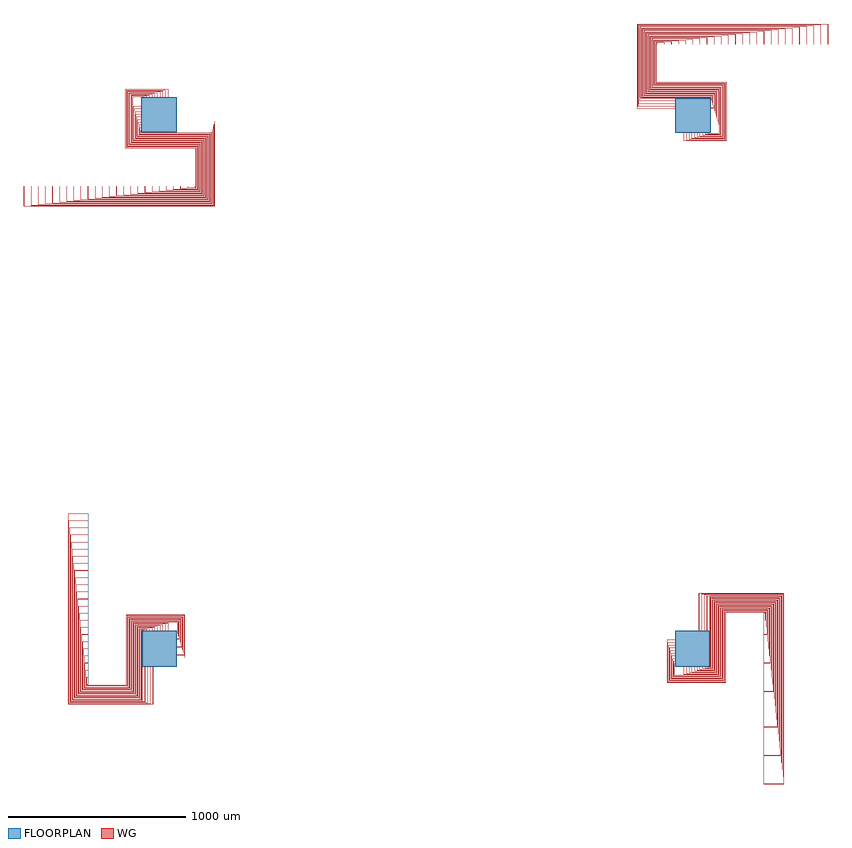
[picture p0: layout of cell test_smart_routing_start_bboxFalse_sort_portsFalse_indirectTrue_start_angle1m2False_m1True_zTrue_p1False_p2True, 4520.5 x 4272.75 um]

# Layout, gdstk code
import gdstk
lib = gdstk.Library(unit=1e-6, precision=1e-09)
def R(c, l, rs):  # rectangles x0, y0, x1, y1
    for r in rs: c.add(gdstk.rectangle(r[:2], r[2:], *l))
def P(c, l, *ps):  # polygons
    for p in ps: c.add(gdstk.Polygon(p, *l))
WG = (1, 0)
FLOORPLAN = (10, 0)

test_smart_routing_start = lib.new_cell('test_smart_routing_start_bboxFalse_sort_portsFalse_indirectTrue_start_angle1m2False_m1True_zTrue_p1False_p2True')
P(test_smart_routing_start, WG, [(-404.5,-204.75),(-404.5,-199.75),(-400,-199.75),(-400,-200.25),(-404,-200.25),(-404,-204.25),(-185.25,-204.25),(-185.25,190),(145,190),(145,-50.25),(100,-50.25),(100,-49.75),(144.5,-49.75),(144.5,189.5),(-184.75,189.5),(-184.75,-204.75)],
  [(-409,-209.25),(-409,-159.75),(-400,-159.75),(-400,-160.25),(-408.5,-160.25),(-408.5,-208.75),(-180.75,-208.75),(-180.75,185.5),(140.5,185.5),(140.5,-35.25),(100,-35.25),(100,-34.75),(140,-34.75),(140,185),(-180.25,185),(-180.25,-209.25)],
  [(-413.5,-213.75),(-413.5,-119.75),(-400,-119.75),(-400,-120.25),(-413,-120.25),(-413,-213.25),(-176.25,-213.25),(-176.25,181),(136,181),(136,-20.25),(100,-20.25),(100,-19.75),(135.5,-19.75),(135.5,180.5),(-175.75,180.5),(-175.75,-213.75)],
  [(-418,-218.25),(-418,-79.75),(-400,-79.75),(-400,-80.25),(-417.5,-80.25),(-417.5,-217.75),(-171.75,-217.75),(-171.75,176.5),(131.5,176.5),(131.5,-5.25),(100,-5.25),(100,-4.75),(131,-4.75),(131,176),(-171.25,176),(-171.25,-218.25)],
  [(-422.5,-222.75),(-422.5,-39.75),(-400,-39.75),(-400,-40.25),(-422,-40.25),(-422,-222.25),(-167.25,-222.25),(-167.25,172),(127,172),(127,9.75),(100,9.75),(100,10.25),(126.5,10.25),(126.5,171.5),(-166.75,171.5),(-166.75,-222.75)],
  [(-427,-227.25),(-427,0.25),(-400,0.25),(-400,-0.25),(-426.5,-0.25),(-426.5,-226.75),(-162.75,-226.75),(-162.75,167.5),(122.5,167.5),(122.5,24.75),(100,24.75),(100,25.25),(122,25.25),(122,167),(-162.25,167),(-162.25,-227.25)],
  [(-431.5,-231.75),(-431.5,40.25),(-400,40.25),(-400,39.75),(-431,39.75),(-431,-231.25),(-158.25,-231.25),(-158.25,163),(118,163),(118,39.75),(100,39.75),(100,40.25),(117.5,40.25),(117.5,162.5),(-157.75,162.5),(-157.75,-231.75)],
  [(-436,-236.25),(-436,80.25),(-400,80.25),(-400,79.75),(-435.5,79.75),(-435.5,-235.75),(-153.75,-235.75),(-153.75,158.5),(113.5,158.5),(113.5,54.75),(100,54.75),(100,55.25),(113,55.25),(113,158),(-153.25,158),(-153.25,-236.25)],
  [(-440.5,-240.75),(-440.5,120.25),(-400,120.25),(-400,119.75),(-440,119.75),(-440,-240.25),(-149.25,-240.25),(-149.25,154),(109,154),(109,69.75),(100,69.75),(100,70.25),(108.5,70.25),(108.5,153.5),(-148.75,153.5),(-148.75,-240.75)],
  [(-445,-245.25),(-445,160.25),(-400,160.25),(-400,159.75),(-444.5,159.75),(-444.5,-244.75),(-144.75,-244.75),(-144.75,149.5),(104.5,149.5),(104.5,84.75),(100,84.75),(100,85.25),(104,85.25),(104,149),(-144.25,149),(-144.25,-245.25)],
  [(-449.5,-249.75),(-449.5,200.25),(-400,200.25),(-400,199.75),(-449,199.75),(-449,-249.25),(-140.25,-249.25),(-140.25,145),(50.25,145),(50.25,100),(49.75,100),(49.75,144.5),(-139.75,144.5),(-139.75,-249.75)],
  [(-454,-254.25),(-454,240.25),(-400,240.25),(-400,239.75),(-453.5,239.75),(-453.5,-253.75),(-135.75,-253.75),(-135.75,140.5),(35.25,140.5),(35.25,100),(34.75,100),(34.75,140),(-135.25,140),(-135.25,-254.25)],
  [(-458.5,-258.75),(-458.5,280.25),(-400,280.25),(-400,279.75),(-458,279.75),(-458,-258.25),(-131.25,-258.25),(-131.25,136),(20.25,136),(20.25,100),(19.75,100),(19.75,135.5),(-130.75,135.5),(-130.75,-258.75)],
  [(-463,-263.25),(-463,320.25),(-400,320.25),(-400,319.75),(-462.5,319.75),(-462.5,-262.75),(-126.75,-262.75),(-126.75,131.5),(5.25,131.5),(5.25,100),(4.75,100),(4.75,131),(-126.25,131),(-126.25,-263.25)],
  [(-467.5,-267.75),(-467.5,360.25),(-400,360.25),(-400,359.75),(-467,359.75),(-467,-267.25),(-122.25,-267.25),(-122.25,127),(-9.75,127),(-9.75,100),(-10.25,100),(-10.25,126.5),(-121.75,126.5),(-121.75,-267.75)],
  [(-472,-272.25),(-472,400.25),(-400,400.25),(-400,399.75),(-471.5,399.75),(-471.5,-271.75),(-117.75,-271.75),(-117.75,122.5),(-24.75,122.5),(-24.75,100),(-25.25,100),(-25.25,122),(-117.25,122),(-117.25,-272.25)],
  [(-476.5,-276.75),(-476.5,440.25),(-400,440.25),(-400,439.75),(-476,439.75),(-476,-276.25),(-113.25,-276.25),(-113.25,118),(-39.75,118),(-39.75,100),(-40.25,100),(-40.25,117.5),(-112.75,117.5),(-112.75,-276.75)],
  [(-481,-281.25),(-481,480.25),(-400,480.25),(-400,479.75),(-480.5,479.75),(-480.5,-280.75),(-108.75,-280.75),(-108.75,113.5),(-54.75,113.5),(-54.75,100),(-55.25,100),(-55.25,113),(-108.25,113),(-108.25,-281.25)],
  [(-485.5,-285.75),(-485.5,520.25),(-400,520.25),(-400,519.75),(-485,519.75),(-485,-285.25),(-104.25,-285.25),(-104.25,109),(-69.75,109),(-69.75,100),(-70.25,100),(-70.25,108.5),(-103.75,108.5),(-103.75,-285.75)],
  [(-490,-290.25),(-490,560.25),(-400,560.25),(-400,559.75),(-489.5,559.75),(-489.5,-289.75),(-99.75,-289.75),(-99.75,104.5),(-84.75,104.5),(-84.75,100),(-85.25,100),(-85.25,104),(-99.25,104),(-99.25,-290.25)],
  [(-512.5,-312.75),(-512.5,760.25),(-400,760.25),(-400,759.75),(-512,759.75),(-512,-312.25),(-35.25,-312.25),(-35.25,-100),(-34.75,-100),(-34.75,-312.75)],
  [(-508,-308.25),(-508,720.25),(-400,720.25),(-400,719.75),(-507.5,719.75),(-507.5,-307.75),(-50.25,-307.75),(-50.25,-100),(-49.75,-100),(-49.75,-308.25)],
  [(-503.5,-303.75),(-503.5,680.25),(-400,680.25),(-400,679.75),(-503,679.75),(-503,-303.25),(-65.25,-303.25),(-65.25,-100),(-64.75,-100),(-64.75,-303.75)],
  [(-499,-299.25),(-499,640.25),(-400,640.25),(-400,639.75),(-498.5,639.75),(-498.5,-298.75),(-80.25,-298.75),(-80.25,-100),(-79.75,-100),(-79.75,-299.25)],
  [(-494.5,-294.75),(-494.5,600.25),(-400,600.25),(-400,599.75),(-494,599.75),(-494,-294.25),(-95.25,-294.25),(-95.25,-100),(-94.75,-100),(-94.75,-294.75)],
  [(199.75,2595.5),(199.75,2600),(200.25,2600),(200.25,2596),(204.25,2596),(204.25,2814.75),(-190,2814.75),(-190,3145),(50.25,3145),(50.25,3100),(49.75,3100),(49.75,3144.5),(-189.5,3144.5),(-189.5,2815.25),(204.75,2815.25),(204.75,2595.5)],
  [(159.75,2591),(159.75,2600),(160.25,2600),(160.25,2591.5),(208.75,2591.5),(208.75,2819.25),(-185.5,2819.25),(-185.5,3140.5),(35.25,3140.5),(35.25,3100),(34.75,3100),(34.75,3140),(-185,3140),(-185,2819.75),(209.25,2819.75),(209.25,2591)],
  [(119.75,2586.5),(119.75,2600),(120.25,2600),(120.25,2587),(213.25,2587),(213.25,2823.75),(-181,2823.75),(-181,3136),(20.25,3136),(20.25,3100),(19.75,3100),(19.75,3135.5),(-180.5,3135.5),(-180.5,2824.25),(213.75,2824.25),(213.75,2586.5)],
  [(79.75,2582),(79.75,2600),(80.25,2600),(80.25,2582.5),(217.75,2582.5),(217.75,2828.25),(-176.5,2828.25),(-176.5,3131.5),(5.25,3131.5),(5.25,3100),(4.75,3100),(4.75,3131),(-176,3131),(-176,2828.75),(218.25,2828.75),(218.25,2582)],
  [(39.75,2577.5),(39.75,2600),(40.25,2600),(40.25,2578),(222.25,2578),(222.25,2832.75),(-172,2832.75),(-172,3127),(-9.75,3127),(-9.75,3100),(-10.25,3100),(-10.25,3126.5),(-171.5,3126.5),(-171.5,2833.25),(222.75,2833.25),(222.75,2577.5)],
  [(-0.25,2573),(-0.25,2600),(0.25,2600),(0.25,2573.5),(226.75,2573.5),(226.75,2837.25),(-167.5,2837.25),(-167.5,3122.5),(-24.75,3122.5),(-24.75,3100),(-25.25,3100),(-25.25,3122),(-167,3122),(-167,2837.75),(227.25,2837.75),(227.25,2573)],
  [(-40.25,2568.5),(-40.25,2600),(-39.75,2600),(-39.75,2569),(231.25,2569),(231.25,2841.75),(-163,2841.75),(-163,3118),(-39.75,3118),(-39.75,3100),(-40.25,3100),(-40.25,3117.5),(-162.5,3117.5),(-162.5,2842.25),(231.75,2842.25),(231.75,2568.5)],
  [(-80.25,2564),(-80.25,2600),(-79.75,2600),(-79.75,2564.5),(235.75,2564.5),(235.75,2846.25),(-158.5,2846.25),(-158.5,3113.5),(-54.75,3113.5),(-54.75,3100),(-55.25,3100),(-55.25,3113),(-158,3113),(-158,2846.75),(236.25,2846.75),(236.25,2564)],
  [(-120.25,2559.5),(-120.25,2600),(-119.75,2600),(-119.75,2560),(240.25,2560),(240.25,2850.75),(-154,2850.75),(-154,3109),(-69.75,3109),(-69.75,3100),(-70.25,3100),(-70.25,3108.5),(-153.5,3108.5),(-153.5,2851.25),(240.75,2851.25),(240.75,2559.5)],
  [(-160.25,2555),(-160.25,2600),(-159.75,2600),(-159.75,2555.5),(244.75,2555.5),(244.75,2855.25),(-149.5,2855.25),(-149.5,3104.5),(-84.75,3104.5),(-84.75,3100),(-85.25,3100),(-85.25,3104),(-149,3104),(-149,2855.75),(245.25,2855.75),(245.25,2555)],
  [(-200.25,2550.5),(-200.25,2600),(-199.75,2600),(-199.75,2551),(249.25,2551),(249.25,2859.75),(-145,2859.75),(-145,3050.25),(-100,3050.25),(-100,3049.75),(-144.5,3049.75),(-144.5,2860.25),(249.75,2860.25),(249.75,2550.5)],
  [(-240.25,2546),(-240.25,2600),(-239.75,2600),(-239.75,2546.5),(253.75,2546.5),(253.75,2864.25),(-140.5,2864.25),(-140.5,3035.25),(-100,3035.25),(-100,3034.75),(-140,3034.75),(-140,2864.75),(254.25,2864.75),(254.25,2546)],
  [(-280.25,2541.5),(-280.25,2600),(-279.75,2600),(-279.75,2542),(258.25,2542),(258.25,2868.75),(-136,2868.75),(-136,3020.25),(-100,3020.25),(-100,3019.75),(-135.5,3019.75),(-135.5,2869.25),(258.75,2869.25),(258.75,2541.5)],
  [(-320.25,2537),(-320.25,2600),(-319.75,2600),(-319.75,2537.5),(262.75,2537.5),(262.75,2873.25),(-131.5,2873.25),(-131.5,3005.25),(-100,3005.25),(-100,3004.75),(-131,3004.75),(-131,2873.75),(263.25,2873.75),(263.25,2537)],
  [(-360.25,2532.5),(-360.25,2600),(-359.75,2600),(-359.75,2533),(267.25,2533),(267.25,2877.75),(-127,2877.75),(-127,2990.25),(-100,2990.25),(-100,2989.75),(-126.5,2989.75),(-126.5,2878.25),(267.75,2878.25),(267.75,2532.5)],
  [(-400.25,2528),(-400.25,2600),(-399.75,2600),(-399.75,2528.5),(271.75,2528.5),(271.75,2882.25),(-122.5,2882.25),(-122.5,2975.25),(-100,2975.25),(-100,2974.75),(-122,2974.75),(-122,2882.75),(272.25,2882.75),(272.25,2528)],
  [(-440.25,2523.5),(-440.25,2600),(-439.75,2600),(-439.75,2524),(276.25,2524),(276.25,2886.75),(-118,2886.75),(-118,2960.25),(-100,2960.25),(-100,2959.75),(-117.5,2959.75),(-117.5,2887.25),(276.75,2887.25),(276.75,2523.5)],
  [(-480.25,2519),(-480.25,2600),(-479.75,2600),(-479.75,2519.5),(280.75,2519.5),(280.75,2891.25),(-113.5,2891.25),(-113.5,2945.25),(-100,2945.25),(-100,2944.75),(-113,2944.75),(-113,2891.75),(281.25,2891.75),(281.25,2519)],
  [(-520.25,2514.5),(-520.25,2600),(-519.75,2600),(-519.75,2515),(285.25,2515),(285.25,2895.75),(-109,2895.75),(-109,2930.25),(-100,2930.25),(-100,2929.75),(-108.5,2929.75),(-108.5,2896.25),(285.75,2896.25),(285.75,2514.5)],
  [(-560.25,2510),(-560.25,2600),(-559.75,2600),(-559.75,2510.5),(289.75,2510.5),(289.75,2900.25),(-104.5,2900.25),(-104.5,2915.25),(-100,2915.25),(-100,2914.75),(-104,2914.75),(-104,2900.75),(290.25,2900.75),(290.25,2510)],
  [(-760.25,2487.5),(-760.25,2600),(-759.75,2600),(-759.75,2488),(312.25,2488),(312.25,2964.75),(100,2964.75),(100,2965.25),(312.75,2965.25),(312.75,2487.5)],
  [(-720.25,2492),(-720.25,2600),(-719.75,2600),(-719.75,2492.5),(307.75,2492.5),(307.75,2949.75),(100,2949.75),(100,2950.25),(308.25,2950.25),(308.25,2492)],
  [(-680.25,2496.5),(-680.25,2600),(-679.75,2600),(-679.75,2497),(303.25,2497),(303.25,2934.75),(100,2934.75),(100,2935.25),(303.75,2935.25),(303.75,2496.5)],
  [(-640.25,2501),(-640.25,2600),(-639.75,2600),(-639.75,2501.5),(298.75,2501.5),(298.75,2919.75),(100,2919.75),(100,2920.25),(299.25,2920.25),(299.25,2501)],
  [(-600.25,2505.5),(-600.25,2600),(-599.75,2600),(-599.75,2506),(294.25,2506),(294.25,2904.75),(100,2904.75),(100,2905.25),(294.75,2905.25),(294.75,2505.5)],
  [(2855,-190),(2855,50.25),(2900,50.25),(2900,49.75),(2855.5,49.75),(2855.5,-189.5),(3184.75,-189.5),(3184.75,204.75),(3404.5,204.75),(3404.5,199.75),(3400,199.75),(3400,200.25),(3404,200.25),(3404,204.25),(3185.25,204.25),(3185.25,-190)],
  [(2859.5,-185.5),(2859.5,35.25),(2900,35.25),(2900,34.75),(2860,34.75),(2860,-185),(3180.25,-185),(3180.25,209.25),(3409,209.25),(3409,159.75),(3400,159.75),(3400,160.25),(3408.5,160.25),(3408.5,208.75),(3180.75,208.75),(3180.75,-185.5)],
  [(2864,-181),(2864,20.25),(2900,20.25),(2900,19.75),(2864.5,19.75),(2864.5,-180.5),(3175.75,-180.5),(3175.75,213.75),(3413.5,213.75),(3413.5,119.75),(3400,119.75),(3400,120.25),(3413,120.25),(3413,213.25),(3176.25,213.25),(3176.25,-181)],
  [(2868.5,-176.5),(2868.5,5.25),(2900,5.25),(2900,4.75),(2869,4.75),(2869,-176),(3171.25,-176),(3171.25,218.25),(3418,218.25),(3418,79.75),(3400,79.75),(3400,80.25),(3417.5,80.25),(3417.5,217.75),(3171.75,217.75),(3171.75,-176.5)],
  [(2873,-172),(2873,-9.75),(2900,-9.75),(2900,-10.25),(2873.5,-10.25),(2873.5,-171.5),(3166.75,-171.5),(3166.75,222.75),(3422.5,222.75),(3422.5,39.75),(3400,39.75),(3400,40.25),(3422,40.25),(3422,222.25),(3167.25,222.25),(3167.25,-172)],
  [(2877.5,-167.5),(2877.5,-24.75),(2900,-24.75),(2900,-25.25),(2878,-25.25),(2878,-167),(3162.25,-167),(3162.25,227.25),(3427,227.25),(3427,-0.25),(3400,-0.25),(3400,0.25),(3426.5,0.25),(3426.5,226.75),(3162.75,226.75),(3162.75,-167.5)],
  [(2882,-163),(2882,-39.75),(2900,-39.75),(2900,-40.25),(2882.5,-40.25),(2882.5,-162.5),(3157.75,-162.5),(3157.75,231.75),(3431.5,231.75),(3431.5,-40.25),(3400,-40.25),(3400,-39.75),(3431,-39.75),(3431,231.25),(3158.25,231.25),(3158.25,-163)],
  [(2886.5,-158.5),(2886.5,-54.75),(2900,-54.75),(2900,-55.25),(2887,-55.25),(2887,-158),(3153.25,-158),(3153.25,236.25),(3436,236.25),(3436,-80.25),(3400,-80.25),(3400,-79.75),(3435.5,-79.75),(3435.5,235.75),(3153.75,235.75),(3153.75,-158.5)],
  [(2891,-154),(2891,-69.75),(2900,-69.75),(2900,-70.25),(2891.5,-70.25),(2891.5,-153.5),(3148.75,-153.5),(3148.75,240.75),(3440.5,240.75),(3440.5,-120.25),(3400,-120.25),(3400,-119.75),(3440,-119.75),(3440,240.25),(3149.25,240.25),(3149.25,-154)],
  [(3400,-160.25),(3400,-159.75),(3444.5,-159.75),(3444.5,244.75),(3144.75,244.75),(3144.75,-149.5),(2895.5,-149.5),(2895.5,-84.75),(2900,-84.75),(2900,-85.25),(2896,-85.25),(2896,-149),(3144.25,-149),(3144.25,245.25),(3445,245.25),(3445,-160.25)],
  [(3400,-200.25),(3400,-199.75),(3449,-199.75),(3449,249.25),(3140.25,249.25),(3140.25,-145),(2949.75,-145),(2949.75,-100),(2950.25,-100),(2950.25,-144.5),(3139.75,-144.5),(3139.75,249.75),(3449.5,249.75),(3449.5,-200.25)],
  [(3400,-240.25),(3400,-239.75),(3453.5,-239.75),(3453.5,253.75),(3135.75,253.75),(3135.75,-140.5),(2964.75,-140.5),(2964.75,-100),(2965.25,-100),(2965.25,-140),(3135.25,-140),(3135.25,254.25),(3454,254.25),(3454,-240.25)],
  [(3400,-280.25),(3400,-279.75),(3458,-279.75),(3458,258.25),(3131.25,258.25),(3131.25,-136),(2979.75,-136),(2979.75,-100),(2980.25,-100),(2980.25,-135.5),(3130.75,-135.5),(3130.75,258.75),(3458.5,258.75),(3458.5,-280.25)],
  [(3400,-320.25),(3400,-319.75),(3462.5,-319.75),(3462.5,262.75),(3126.75,262.75),(3126.75,-131.5),(2994.75,-131.5),(2994.75,-100),(2995.25,-100),(2995.25,-131),(3126.25,-131),(3126.25,263.25),(3463,263.25),(3463,-320.25)],
  [(3400,-360.25),(3400,-359.75),(3467,-359.75),(3467,267.25),(3122.25,267.25),(3122.25,-127),(3009.75,-127),(3009.75,-100),(3010.25,-100),(3010.25,-126.5),(3121.75,-126.5),(3121.75,267.75),(3467.5,267.75),(3467.5,-360.25)],
  [(3400,-400.25),(3400,-399.75),(3471.5,-399.75),(3471.5,271.75),(3117.75,271.75),(3117.75,-122.5),(3024.75,-122.5),(3024.75,-100),(3025.25,-100),(3025.25,-122),(3117.25,-122),(3117.25,272.25),(3472,272.25),(3472,-400.25)],
  [(3400,-440.25),(3400,-439.75),(3476,-439.75),(3476,276.25),(3113.25,276.25),(3113.25,-118),(3039.75,-118),(3039.75,-100),(3040.25,-100),(3040.25,-117.5),(3112.75,-117.5),(3112.75,276.75),(3476.5,276.75),(3476.5,-440.25)],
  [(3400,-480.25),(3400,-479.75),(3480.5,-479.75),(3480.5,280.75),(3108.75,280.75),(3108.75,-113.5),(3054.75,-113.5),(3054.75,-100),(3055.25,-100),(3055.25,-113),(3108.25,-113),(3108.25,281.25),(3481,281.25),(3481,-480.25)],
  [(3400,-520.25),(3400,-519.75),(3485,-519.75),(3485,285.25),(3104.25,285.25),(3104.25,-109),(3069.75,-109),(3069.75,-100),(3070.25,-100),(3070.25,-108.5),(3103.75,-108.5),(3103.75,285.75),(3485.5,285.75),(3485.5,-520.25)],
  [(3400,-560.25),(3400,-559.75),(3489.5,-559.75),(3489.5,289.75),(3099.75,289.75),(3099.75,-104.5),(3084.75,-104.5),(3084.75,-100),(3085.25,-100),(3085.25,-104),(3099.25,-104),(3099.25,290.25),(3490,290.25),(3490,-560.25)],
  [(3400,-760.25),(3400,-759.75),(3512,-759.75),(3512,312.25),(3035.25,312.25),(3035.25,100),(3034.75,100),(3034.75,312.75),(3512.5,312.75),(3512.5,-760.25)],
  [(3400,-720.25),(3400,-719.75),(3507.5,-719.75),(3507.5,307.75),(3050.25,307.75),(3050.25,100),(3049.75,100),(3049.75,308.25),(3508,308.25),(3508,-720.25)],
  [(3400,-680.25),(3400,-679.75),(3503,-679.75),(3503,303.25),(3065.25,303.25),(3065.25,100),(3064.75,100),(3064.75,303.75),(3503.5,303.75),(3503.5,-680.25)],
  [(3400,-640.25),(3400,-639.75),(3498.5,-639.75),(3498.5,298.75),(3080.25,298.75),(3080.25,100),(3079.75,100),(3079.75,299.25),(3499,299.25),(3499,-640.25)],
  [(3400,-600.25),(3400,-599.75),(3494,-599.75),(3494,294.25),(3095.25,294.25),(3095.25,100),(3094.75,100),(3094.75,294.75),(3494.5,294.75),(3494.5,-600.25)],
  [(2949.75,2855),(2949.75,2900),(2950.25,2900),(2950.25,2855.5),(3189.5,2855.5),(3189.5,3184.75),(2795.25,3184.75),(2795.25,3404.5),(2800.25,3404.5),(2800.25,3400),(2799.75,3400),(2799.75,3404),(2795.75,3404),(2795.75,3185.25),(3190,3185.25),(3190,2855)],
  [(2964.75,2859.5),(2964.75,2900),(2965.25,2900),(2965.25,2860),(3185,2860),(3185,3180.25),(2790.75,3180.25),(2790.75,3409),(2840.25,3409),(2840.25,3400),(2839.75,3400),(2839.75,3408.5),(2791.25,3408.5),(2791.25,3180.75),(3185.5,3180.75),(3185.5,2859.5)],
  [(2979.75,2864),(2979.75,2900),(2980.25,2900),(2980.25,2864.5),(3180.5,2864.5),(3180.5,3175.75),(2786.25,3175.75),(2786.25,3413.5),(2880.25,3413.5),(2880.25,3400),(2879.75,3400),(2879.75,3413),(2786.75,3413),(2786.75,3176.25),(3181,3176.25),(3181,2864)],
  [(2994.75,2868.5),(2994.75,2900),(2995.25,2900),(2995.25,2869),(3176,2869),(3176,3171.25),(2781.75,3171.25),(2781.75,3418),(2920.25,3418),(2920.25,3400),(2919.75,3400),(2919.75,3417.5),(2782.25,3417.5),(2782.25,3171.75),(3176.5,3171.75),(3176.5,2868.5)],
  [(3009.75,2873),(3009.75,2900),(3010.25,2900),(3010.25,2873.5),(3171.5,2873.5),(3171.5,3166.75),(2777.25,3166.75),(2777.25,3422.5),(2960.25,3422.5),(2960.25,3400),(2959.75,3400),(2959.75,3422),(2777.75,3422),(2777.75,3167.25),(3172,3167.25),(3172,2873)],
  [(3024.75,2877.5),(3024.75,2900),(3025.25,2900),(3025.25,2878),(3167,2878),(3167,3162.25),(2772.75,3162.25),(2772.75,3427),(3000.25,3427),(3000.25,3400),(2999.75,3400),(2999.75,3426.5),(2773.25,3426.5),(2773.25,3162.75),(3167.5,3162.75),(3167.5,2877.5)],
  [(3039.75,2882),(3039.75,2900),(3040.25,2900),(3040.25,2882.5),(3162.5,2882.5),(3162.5,3157.75),(2768.25,3157.75),(2768.25,3431.5),(3040.25,3431.5),(3040.25,3400),(3039.75,3400),(3039.75,3431),(2768.75,3431),(2768.75,3158.25),(3163,3158.25),(3163,2882)],
  [(3054.75,2886.5),(3054.75,2900),(3055.25,2900),(3055.25,2887),(3158,2887),(3158,3153.25),(2763.75,3153.25),(2763.75,3436),(3080.25,3436),(3080.25,3400),(3079.75,3400),(3079.75,3435.5),(2764.25,3435.5),(2764.25,3153.75),(3158.5,3153.75),(3158.5,2886.5)],
  [(3069.75,2891),(3069.75,2900),(3070.25,2900),(3070.25,2891.5),(3153.5,2891.5),(3153.5,3148.75),(2759.25,3148.75),(2759.25,3440.5),(3120.25,3440.5),(3120.25,3400),(3119.75,3400),(3119.75,3440),(2759.75,3440),(2759.75,3149.25),(3154,3149.25),(3154,2891)],
  [(3084.75,2895.5),(3084.75,2900),(3085.25,2900),(3085.25,2896),(3149,2896),(3149,3144.25),(2754.75,3144.25),(2754.75,3445),(3160.25,3445),(3160.25,3400),(3159.75,3400),(3159.75,3444.5),(2755.25,3444.5),(2755.25,3144.75),(3149.5,3144.75),(3149.5,2895.5)],
  [(3100,2949.75),(3100,2950.25),(3144.5,2950.25),(3144.5,3139.75),(2750.25,3139.75),(2750.25,3449.5),(3200.25,3449.5),(3200.25,3400),(3199.75,3400),(3199.75,3449),(2750.75,3449),(2750.75,3140.25),(3145,3140.25),(3145,2949.75)],
  [(3100,2964.75),(3100,2965.25),(3140,2965.25),(3140,3135.25),(2745.75,3135.25),(2745.75,3454),(3240.25,3454),(3240.25,3400),(3239.75,3400),(3239.75,3453.5),(2746.25,3453.5),(2746.25,3135.75),(3140.5,3135.75),(3140.5,2964.75)],
  [(3100,2979.75),(3100,2980.25),(3135.5,2980.25),(3135.5,3130.75),(2741.25,3130.75),(2741.25,3458.5),(3280.25,3458.5),(3280.25,3400),(3279.75,3400),(3279.75,3458),(2741.75,3458),(2741.75,3131.25),(3136,3131.25),(3136,2979.75)],
  [(3100,2994.75),(3100,2995.25),(3131,2995.25),(3131,3126.25),(2736.75,3126.25),(2736.75,3463),(3320.25,3463),(3320.25,3400),(3319.75,3400),(3319.75,3462.5),(2737.25,3462.5),(2737.25,3126.75),(3131.5,3126.75),(3131.5,2994.75)],
  [(3100,3009.75),(3100,3010.25),(3126.5,3010.25),(3126.5,3121.75),(2732.25,3121.75),(2732.25,3467.5),(3360.25,3467.5),(3360.25,3400),(3359.75,3400),(3359.75,3467),(2732.75,3467),(2732.75,3122.25),(3127,3122.25),(3127,3009.75)],
  [(3100,3024.75),(3100,3025.25),(3122,3025.25),(3122,3117.25),(2727.75,3117.25),(2727.75,3472),(3400.25,3472),(3400.25,3400),(3399.75,3400),(3399.75,3471.5),(2728.25,3471.5),(2728.25,3117.75),(3122.5,3117.75),(3122.5,3024.75)],
  [(3100,3039.75),(3100,3040.25),(3117.5,3040.25),(3117.5,3112.75),(2723.25,3112.75),(2723.25,3476.5),(3440.25,3476.5),(3440.25,3400),(3439.75,3400),(3439.75,3476),(2723.75,3476),(2723.75,3113.25),(3118,3113.25),(3118,3039.75)],
  [(3100,3054.75),(3100,3055.25),(3113,3055.25),(3113,3108.25),(2718.75,3108.25),(2718.75,3481),(3480.25,3481),(3480.25,3400),(3479.75,3400),(3479.75,3480.5),(2719.25,3480.5),(2719.25,3108.75),(3113.5,3108.75),(3113.5,3054.75)],
  [(3100,3069.75),(3100,3070.25),(3108.5,3070.25),(3108.5,3103.75),(2714.25,3103.75),(2714.25,3485.5),(3520.25,3485.5),(3520.25,3400),(3519.75,3400),(3519.75,3485),(2714.75,3485),(2714.75,3104.25),(3109,3104.25),(3109,3069.75)],
  [(3100,3084.75),(3100,3085.25),(3104,3085.25),(3104,3099.25),(2709.75,3099.25),(2709.75,3490),(3560.25,3490),(3560.25,3400),(3559.75,3400),(3559.75,3489.5),(2710.25,3489.5),(2710.25,3099.75),(3104.5,3099.75),(3104.5,3084.75)],
  [(2687.25,3034.75),(2687.25,3512.5),(3760.25,3512.5),(3760.25,3400),(3759.75,3400),(3759.75,3512),(2687.75,3512),(2687.75,3035.25),(2900,3035.25),(2900,3034.75)],
  [(2691.75,3049.75),(2691.75,3508),(3720.25,3508),(3720.25,3400),(3719.75,3400),(3719.75,3507.5),(2692.25,3507.5),(2692.25,3050.25),(2900,3050.25),(2900,3049.75)],
  [(2696.25,3064.75),(2696.25,3503.5),(3680.25,3503.5),(3680.25,3400),(3679.75,3400),(3679.75,3503),(2696.75,3503),(2696.75,3065.25),(2900,3065.25),(2900,3064.75)],
  [(2700.75,3079.75),(2700.75,3499),(3640.25,3499),(3640.25,3400),(3639.75,3400),(3639.75,3498.5),(2701.25,3498.5),(2701.25,3080.25),(2900,3080.25),(2900,3079.75)],
  [(2705.25,3094.75),(2705.25,3494.5),(3600.25,3494.5),(3600.25,3400),(3599.75,3400),(3599.75,3494),(2705.75,3494),(2705.75,3095.25),(2900,3095.25),(2900,3094.75)])
R(test_smart_routing_start, FLOORPLAN, [(-95,-100,100,100), (2900,-100,3095,100), (2900,2900,3100,3095), (-100,2905,100,3100)])
P(test_smart_routing_start, FLOORPLAN, [(-400,-200),(-400,760),(-400,760),(-400,-200)],
  [(-760,2600),(-760,2600),(200,2600),(200,2600)],
  [(3400,-760),(3400,200),(3400,200),(3400,-760)],
  [(2800,3400),(2800,3400),(3760,3400),(3760,3400)])

lib.write_gds('test_smart_routing_start_bboxFalse_sort_portsFalse_indirectTrue_start_angle1m2False_m1True_zTrue_p1False_p2True.gds')
